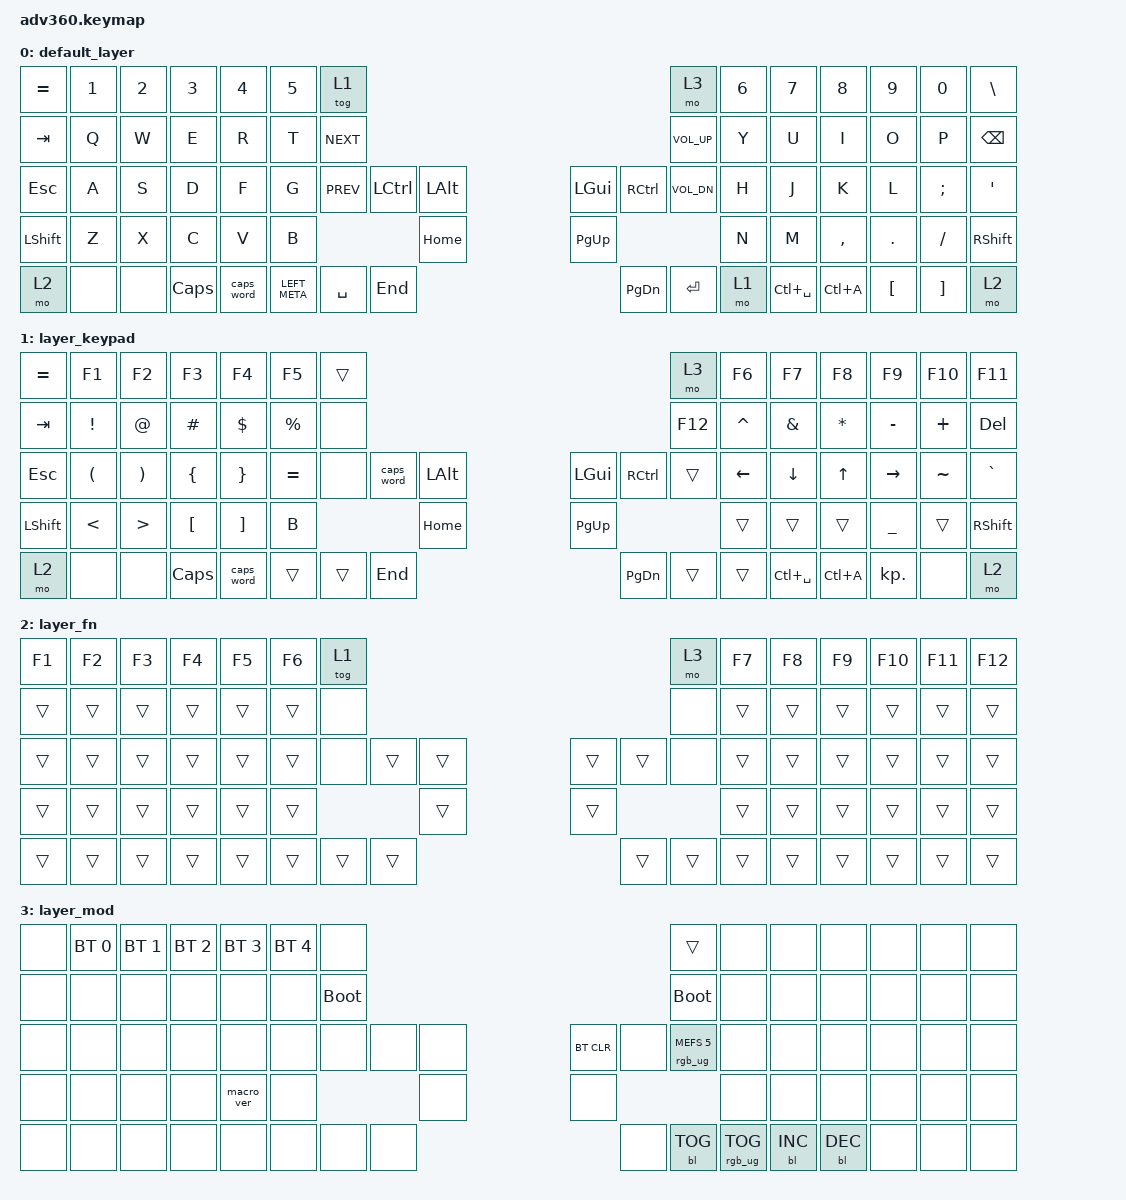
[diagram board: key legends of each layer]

/*
 * Copyright (c) 2020 The ZMK Contributors
 *
 * SPDX-License-Identifier: MIT
 */


/* THIS FILE WAS GENERATED!
 *
 * This file was generated automatically. You may or may not want to
 * edit it directly.
 */

#include <behaviors.dtsi>
#include <dt-bindings/zmk/keys.h>
#include <dt-bindings/zmk/bt.h>
#include <dt-bindings/zmk/rgb.h>
#include <dt-bindings/zmk/backlight.h>

/ {
  behaviors {
    #include "macros.dtsi"
    #include "version.dtsi"

    hm: homerow_mods {
        compatible = "zmk,behavior-hold-tap";
        label = "HOMEROW_MODS";
        #binding-cells = <2>;
        tapping-term-ms = <200>;
        quick_tap_ms = <175>;
        flavor = "tap-preferred";
        bindings = <&kp>, <&kp>;
    };
  };

    keymap {
        compatible = "zmk,keymap";


        default_layer {
            bindings = <
 &kp EQUAL  &kp N1  &kp N2    &kp N3      &kp N4  &kp N5                   &tog 1                                                                    &mo 3  &kp N6         &kp N7     &kp N8    &kp N9    &kp N0  &kp BACKSLASH
   &kp TAB   &kp Q   &kp W     &kp E       &kp R   &kp T               &kp C_NEXT                                                             &kp C_VOL_UP   &kp Y          &kp U      &kp I     &kp O     &kp P  &kp BACKSPACE
   &kp ESC   &kp A   &kp S     &kp D       &kp F   &kp G               &kp C_PREV  &kp LCTRL  &kp LALT                   &kp LGUI  &kp RCTRL  &kp C_VOL_DN   &kp H          &kp J      &kp K     &kp L  &kp SEMI        &kp SQT
 &kp LSHFT   &kp Z   &kp X     &kp C       &kp V   &kp B                                      &kp HOME                  &kp PG_UP                            &kp N          &kp M  &kp COMMA   &kp DOT  &kp FSLH      &kp RSHFT
     &mo 2   &none   &none  &kp CAPS  &caps_word                    &kp LEFT_META  &kp SPACE   &kp END                  &kp PG_DN  &kp ENTER         &mo 1          &kp LC(SPACE)  &kp LC(A)  &kp LBKT  &kp RBKT          &mo 2
            >;
        };

        layer_keypad {
            bindings = <
 &kp EQUAL                &kp F1                 &kp F2            &kp F3             &kp F4       &kp F5            &trans                                                                &mo 3     &kp F6         &kp F7     &kp F8          &kp F9    &kp F10     &kp F11
   &kp TAB       &kp EXCLAMATION                 &kp AT         &kp POUND         &kp DOLLAR  &kp PERCENT             &none                                                              &kp F12  &kp CARET  &kp AMPERSAND   &kp STAR       &kp MINUS   &kp PLUS  &kp DELETE
   &kp ESC  &kp LEFT_PARENTHESIS  &kp RIGHT_PARENTHESIS    &kp LEFT_BRACE    &kp RIGHT_BRACE    &kp EQUAL             &none  &caps_word  &kp LALT                   &kp LGUI  &kp RCTRL   &trans   &kp LEFT       &kp DOWN     &kp UP       &kp RIGHT  &kp TILDE   &kp GRAVE
 &kp LSHFT         &kp LESS_THAN       &kp GREATER_THAN  &kp LEFT_BRACKET  &kp RIGHT_BRACKET        &kp B                                &kp HOME                  &kp PG_UP                         &trans         &trans     &trans  &kp UNDERSCORE     &trans   &kp RSHFT
     &mo 2                 &none                  &none          &kp CAPS         &caps_word                         &trans      &trans   &kp END                  &kp PG_DN     &trans   &trans             &kp LC(SPACE)  &kp LC(A)      &kp KP_DOT      &none       &mo 2
            >;
        };

        layer_fn {
            bindings = <
 &kp F1  &kp F2  &kp F3  &kp F4  &kp F5  &kp F6            &tog 1                                                   &mo 3  &kp F7  &kp F8  &kp F9  &kp F10  &kp F11  &kp F12
 &trans  &trans  &trans  &trans  &trans  &trans             &none                                                   &none  &trans  &trans  &trans   &trans   &trans   &trans
 &trans  &trans  &trans  &trans  &trans  &trans             &none  &trans  &trans                  &trans  &trans   &none  &trans  &trans  &trans   &trans   &trans   &trans
 &trans  &trans  &trans  &trans  &trans  &trans                            &trans                  &trans                  &trans  &trans  &trans   &trans   &trans   &trans
 &trans  &trans  &trans  &trans  &trans                    &trans  &trans  &trans                  &trans  &trans  &trans          &trans  &trans   &trans   &trans   &trans
            >;
        };

        layer_mod {
            bindings = <
  &none  &bt BT_SEL 0  &bt BT_SEL 1  &bt BT_SEL 2  &bt BT_SEL 3  &bt BT_SEL 4                  &none                                                                          &trans   &none       &none       &none   &none   &none   &none
  &none         &none         &none         &none         &none         &none            &bootloader                                                                     &bootloader   &none       &none       &none   &none   &none   &none
  &none         &none         &none         &none         &none         &none                  &none   &none   &none                  &bt BT_CLR       &none  &rgb_ug RGB_MEFS_CMD 5   &none       &none       &none   &none   &none   &none
  &none         &none         &none         &none    &macro_ver         &none                                  &none                       &none                                       &none       &none       &none   &none   &none   &none
  &none         &none         &none         &none         &none                                &none   &none   &none                       &none  &bl BL_TOG         &rgb_ug RGB_TOG          &bl BL_INC  &bl BL_DEC   &none   &none   &none
            >;
        };

    };
};
